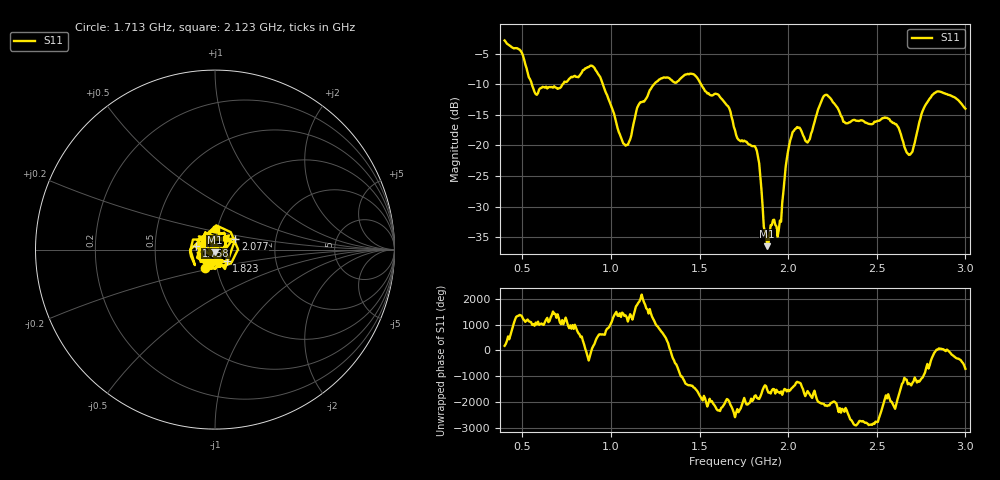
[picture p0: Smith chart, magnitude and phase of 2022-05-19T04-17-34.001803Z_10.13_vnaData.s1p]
!Created with skrf (http://scikit-rf.org).
# Hz S RI R 50.0
!freq ReS11 ImS11
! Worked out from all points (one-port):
!   401 points, 400 MHz to 3 GHz, reference 50 ohm
!   lowest |S11| = -36.5 dB at 1.882 GHz (marker M1), VSWR 1.03, Z = 49.9 - j1.49 ohm
!   |S11| at or under -10 dB: 553.5 MHz to 728.6 MHz (175.1 MHz wide, 27.3 % of centre); 953.9 MHz to 1.244 GHz (290.2 MHz wide, 26.4 % of centre); 1.508 GHz to end of sweep
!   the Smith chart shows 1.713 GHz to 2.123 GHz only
!   S11 on the Smith chart (normalised r, x): 1.713 GHz: 0.88, -0.18; 1.758 GHz: 0.81, +0.04; 1.823 GHz: 1.13, -0.14; 2.077 GHz: 1.25, +0.15; 2.123 GHz: 0.98, +0.22
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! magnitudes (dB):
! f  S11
! 400 MHz  -2.9
! 491 MHz  -4.6
! 575.5 MHz  -11.6
! 725 MHz  -10.1
! 900.5 MHz  -7.1
! 1.05 GHz  -18.2
! 1.095 GHz  -19.9
! 1.154 GHz  -13.5
! 1.258 GHz  -9.6
! 1.375 GHz  -9.6
! 1.46 GHz  -8.3
! 1.609 GHz  -11.8
! 1.7 GHz  -17.5
! 1.713 GHz  -18.8
! 1.758 GHz  -19.4
! 1.823 GHz  -20.9
! 1.882 GHz  -36.5
! 1.947 GHz  -33.8
! 1.999 GHz  -21.0
! 2.025 GHz  -17.8
! 2.077 GHz  -17.8
! 2.123 GHz  -18.9
! 2.207 GHz  -11.8
! 2.35 GHz  -16.2
! 2.558 GHz  -15.5
! 2.675 GHz  -21.4
! 2.825 GHz  -11.5
! 3 GHz  -14.0
